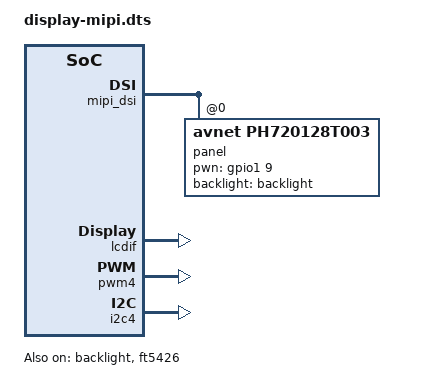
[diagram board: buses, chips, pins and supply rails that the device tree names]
/*
 * Copyright 2023 AVNET
 *
 * This program is free software; you can redistribute it and/or
 * modify it under the terms of the GNU General Public License
 * as published by the Free Software Foundation; either version 2
 * of the License, or (at your option) any later version.
 *
 * This program is distributed in the hope that it will be useful,
 * but WITHOUT ANY WARRANTY; without even the implied warranty of
 * MERCHANTABILITY or FITNESS FOR A PARTICULAR PURPOSE.  See the
 * GNU General Public License for more details.
 */

/dts-v1/;
/plugin/;

#include <dt-bindings/gpio/gpio.h>
#include "../imx8mm-pinfunc.h"

/* Device tree overlay for MIPI LCD and touchscreen */

&mipi_dsi{
	status = "okay";
	#address-cells = <1>;
	#size-cells = <0>;

	panel@0 {
		//compatible = "avnet,ph720128t005", "ilitek,ili9881c";
		compatible = "avnet,ph720128t003", "ilitek,ili9881c";
		reg = <0>;
		pinctrl-names = "default";
		pinctrl-0 = <&pinctrl_mipi_dsi_en>;
		pwn-gpios = <&gpio1 9 GPIO_ACTIVE_HIGH>;
		dsi-lanes = <2>;
		backlight = <&backlight>;
		status = "okay";
	};
};

&lcdif{
	status = "okay";
};

&pwm4{
	status = "okay";
};

&backlight{
	status = "okay";
};

&i2c4{
	status = "okay";
};

/* For Avnet PH720128T005 LCD display */
&gt911{
	status = "disabled";
};

/* For Avnet PH720128T003 LCD display */
&ft5426{
	status = "okay";
};

&iomuxc {
	pinctrl_mipi_dsi_en: mipi_dsi_en {
		fsl,pins = <
			MX8MM_IOMUXC_GPIO1_IO09_GPIO1_IO9			0x16  /* DSI_EN */
		>;
	};
};
